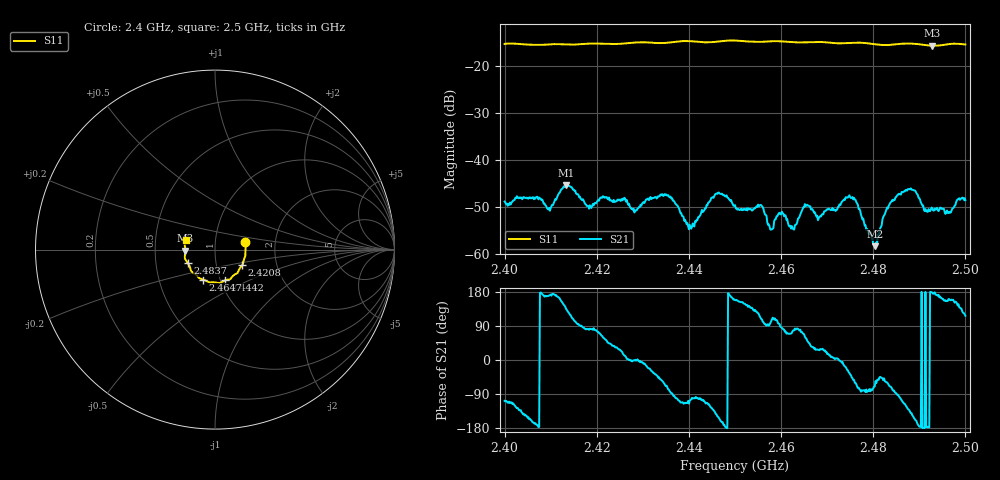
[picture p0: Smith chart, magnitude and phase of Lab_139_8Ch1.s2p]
# Hz S RI R 50
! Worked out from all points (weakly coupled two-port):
!   601 points, 2.4 GHz to 2.5 GHz, reference 50 ohm
!   highest |S21| = -45.32 dB at 2.4133 GHz (marker M1); lowest = -58.3 dB at 2.4803 GHz (marker M2)
!   lowest |S11| = -15.6 dB at 2.4928 GHz (marker M3), VSWR 1.40, Z = 35.8 - j0.376 ohm
!   |S11| at or under -10 dB: start of sweep to end of sweep
!   S12 and S22 are empty: the file has one direction only
!   S11 on the Smith chart (normalised r, x): 2.4 GHz: 1.40, +0.12; 2.4208 GHz: 1.33, -0.24; 2.4442 GHz: 1.05, -0.37; 2.4647 GHz: 0.83, -0.29; 2.4837 GHz: 0.73, -0.11; 2.5 GHz: 0.72, +0.08
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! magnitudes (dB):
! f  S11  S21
! 2.4 GHz  -15.2  -48.8
! 2.4097 GHz  -15.3  -50.2
! 2.4133 GHz  -15.3  -45.3
! 2.4167 GHz  -15.2  -48.4
! 2.4208 GHz  -15.2  -48.0
! 2.4283 GHz  -14.9  -50.8
! 2.4333 GHz  -15.1  -47.7
! 2.4402 GHz  -14.6  -53.8
! 2.4442 GHz  -14.9  -49.1
! 2.45 GHz  -14.5  -49.6
! 2.4555 GHz  -14.8  -49.6
! 2.4578 GHz  -14.7  -54.8
! 2.4627 GHz  -14.9  -54.7
! 2.4647 GHz  -14.9  -50.4
! 2.4667 GHz  -14.8  -50.4
! 2.4753 GHz  -15.0  -48.0
! 2.4803 GHz  -15.3  -58.3
! 2.4833 GHz  -15.5  -49.8
! 2.4837 GHz  -15.5  -49.2
! 2.488 GHz  -15.2  -46.2
! 2.4928 GHz  -15.6  -50.4
! 2.5 GHz  -15.3  -48.6
